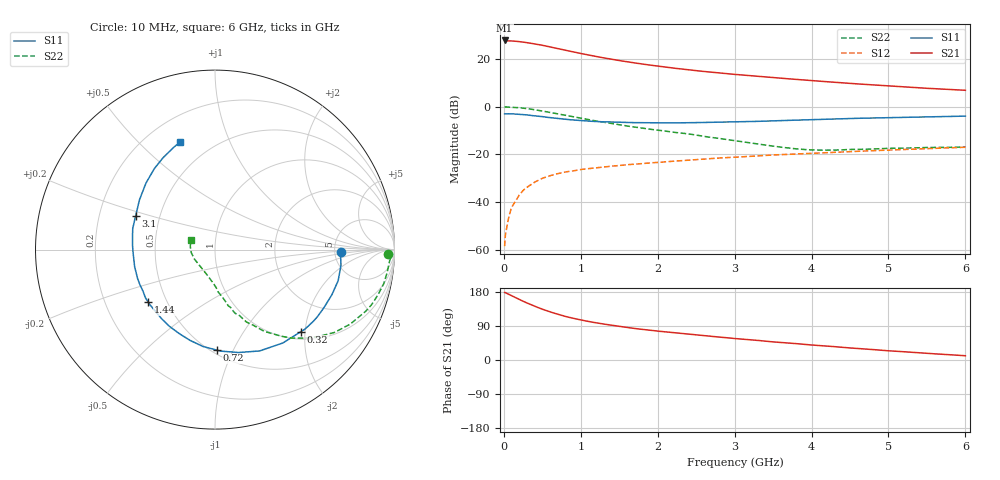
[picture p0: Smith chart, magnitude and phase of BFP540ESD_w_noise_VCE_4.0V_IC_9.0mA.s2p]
! Infineon Technologies  Discrete & RF Semiconductors
! BFP540ESD
! VCE =  4.0 V,  IC =  9.0 mA
! Common Emitter S-Parameters:  Nov 2015
# GHz  S  MA  R  50
!  f  S11  S21  S12  S22
! GHz  MAG  ANG  MAG  ANG  MAG  ANG  MAG  ANG
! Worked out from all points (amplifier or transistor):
!   210 points, 10 MHz to 6 GHz, reference 50 ohm
!   highest |S21| = 27.7 dB at 10 MHz (marker M1)
!   |S21| within 3 dB of that: start of sweep to 644.4 MHz
!   unconditionally stable (mu >= 1): start of sweep to 12.16 MHz; 2.85 GHz to end of sweep
!   at 185 MHz: K = 0.15, MSG = 32.5 dB, |S12| = -37.8 dB
!   at 1.52 GHz: K = 0.68, MSG = 21.9 dB, |S12| = -24.6 dB
!   at 6 GHz: K = 1.16, MAG = 9.5 dB, |S12| = -17.0 dB
!   lowest NFmin = 0.83 dB at 900 MHz
!   S11 on the Smith chart (normalised r, x): 10 MHz: 5.70, -0.28; 320 MHz: 1.17, -1.90; 720 MHz: 0.53, -0.87; 1.44 GHz: 0.39, -0.30; 3.1 GHz: 0.36, +0.18; 6 GHz: 0.34, +0.67
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0.01  0.7019 -1.0  24.16 178.2  0.0012 33.2  0.9633 -1.3
0.02  0.7007 -3.0  23.75 177.7  0.002 57.7  0.9866 -1.5
0.1  0.7077 -14.2  23.62 169.6  0.0076 78.0  0.9674 -7.7
0.15  0.6981 -21.1  23.31 164.8  0.0104 77.3  0.9594 -11.4
0.24  0.6821 -33.3  22.44 156.1  0.0168 74.1  0.9308 -18.1
0.32  0.6617 -43.7  21.51 148.9  0.0215 70.4  0.8968 -23.5
0.4  0.6431 -54.0  20.51 141.9  0.0262 67.6  0.8607 -28.8
0.5  0.6171 -66.2  19.18 133.9  0.0315 63.9  0.8083 -34.9
0.6  0.5882 -77.1  17.7 126.8  0.0358 60.2  0.7545 -39.9
0.72  0.5606 -88.8  16.14 119.7  0.0401 56.7  0.6934 -45.3
0.8  0.5441 -97.0  15.11 115.0  0.0428 54.2  0.6538 -49.0
0.88  0.5274 -103.7  14.17 111.1  0.0446 52.7  0.6183 -51.7
1.02  0.5056 -114.6  12.71 104.9  0.0487 50.1  0.5609 -56.2
1.2  0.4868 -127.5  11.14 98.0  0.0525 47.8  0.4986 -61.2
1.44  0.4733 -141.8  9.536 90.4  0.0573 45.5  0.4306 -67.1
1.7  0.4617 -155.1  8.196 83.2  0.0622 44.0  0.3725 -72.4
2.02  0.4574 -168.5  6.958 75.8  0.068 42.0  0.3186 -76.9
2.58  0.4643 171.9  5.47 64.5  0.0794 39.7  0.24 -85.3
3.1  0.4805 156.9  4.572 55.1  0.0889 37.1  0.1835 -94.0
4.1  0.539 134.1  3.401 38.2  0.1068 31.0  0.1228 -137.2
5.1  0.5925 118.0  2.646 23.1  0.1244 24.5  0.1342 -176.4
6  0.6311 107.8  2.191 11.2  0.1407 19.4  0.1426 158.4
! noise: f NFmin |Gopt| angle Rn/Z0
0.9  0.83  0.08  -128  0.11
1.8  1.03  0.14  -161  0.1
2.4  1.04  0.14  -156  0.1
3  1.16  0.21  -156  0.1
4  1.29  0.34  -115  0.15
5  1.48  0.45  -92  0.27
6  1.72  0.53  -95  0.5
